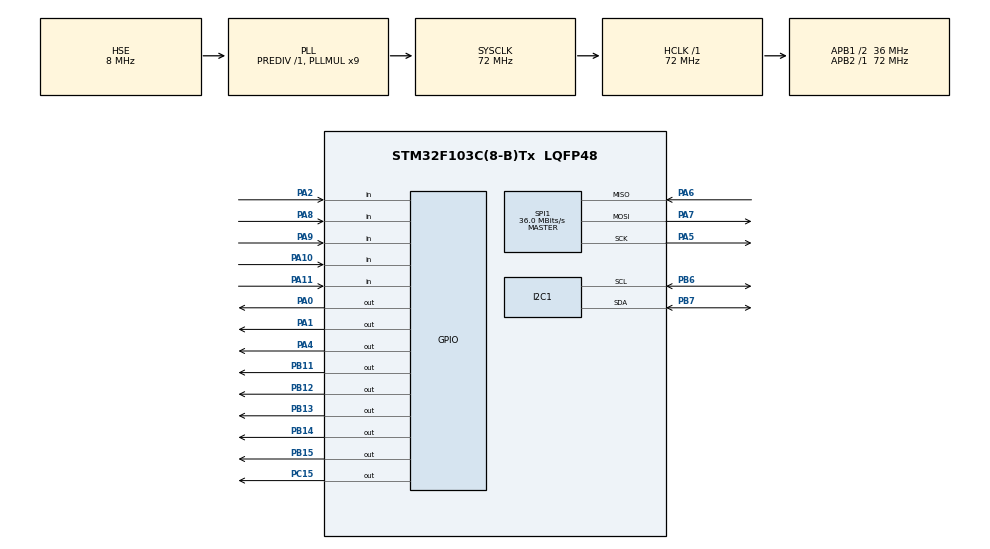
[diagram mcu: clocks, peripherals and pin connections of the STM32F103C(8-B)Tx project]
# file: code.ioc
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Mcu.Family=STM32F1
Mcu.Name=STM32F103C(8-B)Tx
Mcu.Package=LQFP48
NVIC.PriorityGroup=NVIC_PRIORITYGROUP_4
PA0-WKUP.Signal=GPIO_Output
PA1.Signal=GPIO_Output
PA10.GPIO_PuPd=GPIO_PULLUP
PA10.Signal=GPIO_Input
PA11.GPIO_PuPd=GPIO_PULLUP
PA11.Signal=GPIO_Input
PA13.Mode=Serial_Wire
PA13.Signal=SYS_JTMS-SWDIO
PA14.Mode=Serial_Wire
PA14.Signal=SYS_JTCK-SWCLK
PA2.Signal=GPIO_Input
PA4.Signal=GPIO_Output
PA5.Mode=Full_Duplex_Master
PA5.Signal=SPI1_SCK
PA6.Mode=Full_Duplex_Master
PA6.Signal=SPI1_MISO
PA7.Mode=Full_Duplex_Master
PA7.Signal=SPI1_MOSI
PA8.GPIO_PuPd=GPIO_PULLUP
PA8.Signal=GPIO_Input
PA9.GPIO_PuPd=GPIO_PULLUP
PA9.Signal=GPIO_Input
PB11.Signal=GPIO_Output
PB12.Signal=GPIO_Output
PB13.Signal=GPIO_Output
PB14.Signal=GPIO_Output
PB15.Signal=GPIO_Output
PB6.Mode=I2C
PB6.Signal=I2C1_SCL
PB7.Mode=I2C
PB7.Signal=I2C1_SDA
PC15-OSC32_OUT.Signal=GPIO_Output
PD0-OSC_IN.Mode=HSE-External-Oscillator
PD0-OSC_IN.Signal=RCC_OSC_IN
PD1-OSC_OUT.Mode=HSE-External-Oscillator
PD1-OSC_OUT.Signal=RCC_OSC_OUT
ProjectManager.HeapSize=0x200
ProjectManager.StackSize=0x400
ProjectManager.TargetToolchain=MDK-ARM V5
RCC.AHBFreq_Value=72000000
RCC.APB1CLKDivider=RCC_HCLK_DIV2
RCC.APB1Freq_Value=36000000
RCC.APB1TimFreq_Value=72000000
RCC.APB2Freq_Value=72000000
RCC.APB2TimFreq_Value=72000000
RCC.HCLKFreq_Value=72000000
RCC.PLLMUL=RCC_PLL_MUL9
RCC.PLLSourceVirtual=RCC_PLLSOURCE_HSE
RCC.SYSCLKFreq_VALUE=72000000
RCC.SYSCLKSource=RCC_SYSCLKSOURCE_PLLCLK
RCC.USBFreq_Value=72000000
SPI1.BaudRatePrescaler=SPI_BAUDRATEPRESCALER_2
SPI1.CalculateBaudRate=36.0 MBits/s
SPI1.Direction=SPI_DIRECTION_2LINES
SPI1.Mode=SPI_MODE_MASTER
SPI1.VirtualType=VM_MASTER
TIM2.Period=2499
TIM2.Prescaler=64
VP_TIM2_VS_ClockSourceINT.Mode=Internal
board=custom

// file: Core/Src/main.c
/* USER CODE BEGIN Header */
/**
  ******************************************************************************
  * @file           : main.c
  * @brief          : Main program body
  ******************************************************************************
  * @attention
  *
  * Copyright (c) 2023 STMicroelectronics.
  * All rights reserved.
  *
  * This software is licensed under terms that can be found in the LICENSE file
  * in the root directory of this software component.
  * If no LICENSE file comes with this software, it is provided AS-IS.
  *
  ******************************************************************************
  */
/* USER CODE END Header */
#include "main.h"
#include "flash.h"
#include "i2c-lcd.h"
#include "stm32f1_rc522.h"
#include "string.h"
#include "stdio.h"
#include "stdlib.h"
#define DS3231_ADDRESS 0xD0
/* USER CODE BEGIN Includes */
//Khai bao chan cua keypad
#define C1_PORT GPIOA
#define C1_PIN GPIO_PIN_8

#define C2_PORT GPIOA
#define C2_PIN GPIO_PIN_9

#define C3_PORT GPIOA
#define C3_PIN GPIO_PIN_10

#define C4_PORT GPIOA
#define C4_PIN GPIO_PIN_11

#define R1_PORT GPIOB
#define R1_PIN GPIO_PIN_12

#define R2_PORT GPIOB
#define R2_PIN GPIO_PIN_13

#define R3_PORT GPIOB
#define R3_PIN GPIO_PIN_14

#define R4_PORT GPIOB
#define R4_PIN GPIO_PIN_15
/* USER CODE END Includes */
#define maxdigit 10
uint8_t key_val,mathe[30];
static unsigned char index=0;
char dem=0,dem2=0,sophantu=0,m=0,moi=0,dem1=0,demmk=0;
char mp[10],mp1[10],mpxn[10],password[11]="",data[20],chedoxoathe=0,chedoxoatatca=0,mocua1=0;
char saithe=0,chedodoimk=0,chedodoixn=0,chedochonmemu=0,menu=0, smk=0,chedothemthe=0;
uint8_t  serNum[5],mastercard[5],str[MAX_LEN],themthe[5],status,kiemtrathe=0,ktmaster=0,demapp=0,mode=0;
char demmas=0,demchua=0,demco=0;
int coi=0;
#define ADDRESS_DATA_STORAGE  (0x08000000+ 120*1024)// mat khau
#define ADDRESS_DATA_STORAGE1  (0x08000000+ 121*1024)// master
#define ADDRESS_DATA_STORAGE2  (0x08000000+ 122*1024)// them the

I2C_HandleTypeDef hi2c1;

SPI_HandleTypeDef hspi1;
TIM_HandleTypeDef htim2;

void SystemClock_Config(void);
static void MX_GPIO_Init(void);
static void MX_I2C1_Init(void);
static void MX_SPI1_Init(void);
static void MX_TIM2_Init(void);
/* USER CODE BEGIN PFP */

//KeyPad
uint8_t key_val;
uint8_t  keypad_get_key_value(void)
{
	 int  key;
	 key =' ';
      HAL_GPIO_WritePin(GPIOB,R1_PIN,GPIO_PIN_RESET);
			HAL_Delay(10);
      if(HAL_GPIO_ReadPin(C1_PORT,C1_PIN)==0) {
				while(HAL_GPIO_ReadPin(C1_PORT,C1_PIN)==0);
				key= '1';
			}
      if(HAL_GPIO_ReadPin(C2_PORT,C2_PIN)==0){
				while(HAL_GPIO_ReadPin(C2_PORT,C2_PIN)==0);
				key= '2';
			}
      if(HAL_GPIO_ReadPin(C3_PORT,C3_PIN)==0){
				while(HAL_GPIO_ReadPin(C3_PORT,C3_PIN)==0);
				key= '3';
			}
      if(HAL_GPIO_ReadPin(C4_PORT,C4_PIN)==0) {
				while(HAL_GPIO_ReadPin(C4_PORT,C4_PIN)==0);
				key= 'A';
			}
      HAL_GPIO_WritePin(GPIOB,R1_PIN,GPIO_PIN_SET);

			HAL_GPIO_WritePin(GPIOB,R2_PIN,GPIO_PIN_RESET);
			HAL_Delay(10);
      if(HAL_GPIO_ReadPin(C1_PORT,C1_PIN)==0) {
				while(HAL_GPIO_ReadPin(C1_PORT,C1_PIN)==0);
				key= '4';
			}
      if(HAL_GPIO_ReadPin(C2_PORT,C2_PIN)==0){
				while(HAL_GPIO_ReadPin(C2_PORT,C2_PIN)==0);
				 key= '5';
			 }
      if(HAL_GPIO_ReadPin(C3_PORT,C3_PIN)==0) {
				while(HAL_GPIO_ReadPin(C3_PORT,C3_PIN)==0);
				 key= '6';
			 }
      if(HAL_GPIO_ReadPin(C4_PORT,C4_PIN)==0) {
				while(HAL_GPIO_ReadPin(C4_PORT,C4_PIN)==0);
				 key= 'B';
			}
      HAL_GPIO_WritePin(GPIOB,R2_PIN,GPIO_PIN_SET);

 			HAL_GPIO_WritePin(GPIOB,R3_PIN,GPIO_PIN_RESET);
			HAL_Delay(10);
      if(HAL_GPIO_ReadPin(C1_PORT,C1_PIN)==0) {
				while(HAL_GPIO_ReadPin(C1_PORT,C1_PIN)==0);
				key= '7';
			}
      if(HAL_GPIO_ReadPin(C2_PORT,C2_PIN)==0) {
				while(HAL_GPIO_ReadPin(C2_PORT,C2_PIN)==0);
				 key='8';
			}
      if(HAL_GPIO_ReadPin(C3_PORT,C3_PIN)==0) {
				while(HAL_GPIO_ReadPin(C3_PORT,C3_PIN)==0);
				 key='9';
			}
      if(HAL_GPIO_ReadPin(C4_PORT,C4_PIN)==0) {
				while(HAL_GPIO_ReadPin(C4_PORT,C4_PIN)==0);
				 key='C';
			}
      HAL_GPIO_WritePin(GPIOB,R3_PIN,GPIO_PIN_SET);

 			HAL_GPIO_WritePin(GPIOB,R4_PIN,GPIO_PIN_RESET);
			HAL_Delay(10);
      if(HAL_GPIO_ReadPin(C1_PORT,C1_PIN)==0) {
				while(HAL_GPIO_ReadPin(C1_PORT,C1_PIN)==0);
				key='*';
			}
      if(HAL_GPIO_ReadPin(C2_PORT,C2_PIN)==0){
				while(HAL_GPIO_ReadPin(C2_PORT,C2_PIN)==0);
				 key= '0';
			}
      if(HAL_GPIO_ReadPin(C3_PORT,C3_PIN)==0) {
				while(HAL_GPIO_ReadPin(C3_PORT,C3_PIN)==0);
				 key='#';
			}
      if(HAL_GPIO_ReadPin(C4_PORT,C4_PIN)==0) {
				while(HAL_GPIO_ReadPin(C4_PORT,C4_PIN)==0);
				 key= 'D';
			}
      HAL_GPIO_WritePin(GPIOB,R4_PIN,GPIO_PIN_SET);

			return  key;

}

//RFID
void sosanhthe(uint8_t keycard[],  uint8_t id_moi[],  uint8_t mastercard[],char sophantu){
   if(sophantu==0){
		 if(id_moi[0] == mastercard[0] && id_moi[1] == mastercard[1] && id_moi[2] == mastercard[2] && id_moi[3] == mastercard[3]&& id_moi[4] == mastercard[4]){
			demmas=1;
		 }
			else{
			demchua=1;}
	 }
	 else{
   while(m < sophantu) {
        moi = m + 5;
      if(id_moi[0] == mastercard[0] && id_moi[1] == mastercard[1] &&id_moi[2] == mastercard[2] && id_moi[3] == mastercard[3]&& id_moi[4] == mastercard[4])  {
        demchua=0; demco=0; demmas=1; break;
			}
     else if(id_moi[0] == keycard[m] && id_moi[1] == keycard[m+1] && id_moi[2] == keycard[m+2] && id_moi[3] == keycard[m+3]&& id_moi[4] == keycard[m+4])  {
        demchua=0; demco=1; demmas=0;  break;
		 }
     else  if(id_moi[0] != keycard[m] || id_moi[1] != keycard[m+1] || id_moi[2] != keycard[m+2] || id_moi[3] != keycard[m+3] || id_moi[4] != keycard[m+4]) {
        demchua=1; demco=0; demmas=0;
		 }
      m = moi;
    }
	}
}
void xoathe(uint8_t a[], char *n, char viTriXoa,char soLuongXoa){
    for(char i = viTriXoa; i < *n - soLuongXoa; ++i)
        a[i] = a[i+soLuongXoa];
     *n -= soLuongXoa;
}
void nhapmk (char arr[]){
   if(index < maxdigit){
        arr[index] = key_val;
		    index++;
		    HAL_Delay(100);
				lcd_put_cur (1,5);
	      lcd_send_string(arr) ;
		  }
}
void xoamk (char arr[]){
   if(index>0){
	    index--;
	    arr[index]= '\0';
	    HAL_Delay(100);
			lcd_put_cur (1,5);
	    lcd_send_string(arr) ;
	  }
}

void xoachuoi (char arr[]){
for(int i=0;i<11;i++){
	strcpy(&arr[i],"");
	index=0;
	}
}
 uint8_t CheckPass(char *Str1, char *Str2){
	int sosanh;
	if(strlen(Str1)==strlen(Str2)){
		sosanh=strcmp(Str1,Str2);
		if(sosanh==0) return 1;
		else return 0;
	}
	else return 0;
}
void mocua(){
		mocua1=1;
		HAL_GPIO_WritePin(GPIOB,GPIO_PIN_11,1);
		HAL_Delay(200);
		HAL_GPIO_WritePin(GPIOB,GPIO_PIN_11,0);
		HAL_GPIO_WritePin(GPIOC,GPIO_PIN_15,1);
	  saithe=0;smk=0;
}
void ktra_nut(){
	if(HAL_GPIO_ReadPin(GPIOA,GPIO_PIN_2)==0){
		while(HAL_GPIO_ReadPin(GPIOA,GPIO_PIN_2)==0);
		if(mocua1==1){
			HAL_GPIO_WritePin(GPIOB,GPIO_PIN_11,1);
			HAL_Delay(200);
			HAL_GPIO_WritePin(GPIOB,GPIO_PIN_11,0);
			HAL_GPIO_WritePin(GPIOC,GPIO_PIN_15,0);
			mocua1=0;
		}
		else{
			mocua();
		}
	}
}
void start(){

	lcd_put_cur (0,0);
	sprintf(data," Moi quet the      ");
	lcd_send_string (data );
	lcd_put_cur (1,0);
	lcd_send_string("                      ");
	xoachuoi(mp);xoachuoi(mp1);xoachuoi(mpxn);
	demchua=0; demco=0; m=0;moi=0,dem2=0,dem=0,demmas=0,mode=0;
	chedodoimk=0;chedodoixn=0;chedothemthe=0;chedoxoatatca=0;chedoxoathe=0,coi=0;
	ktra_nut();

	dem1=Flash_Read_Int(ADDRESS_DATA_STORAGE);
	Flash_Read_Array(ADDRESS_DATA_STORAGE+2,(uint8_t *)password,dem1);
	sophantu=Flash_Read_Int(ADDRESS_DATA_STORAGE2);
	Flash_Read_Array(ADDRESS_DATA_STORAGE2+2,(uint8_t *)mathe,sophantu);
}

	int temp=0;

void Menu(){

	dem=0;
	dem2=0;
	lcd_put_cur (0,0);
	 lcd_send_string("C:Man hinh chinh         ") ;
	 lcd_put_cur (1,0);
	 lcd_send_string("A:Menu                 ") ;
	temp=1;
	while(temp==1){
		ktra_nut();
		key_val=keypad_get_key_value ();
		if(key_val!= 0x20 && key_val=='A'){
			lcd_clear();
			dem++;
			HAL_Delay(100);
		}
		if(key_val!= 0x20 && key_val=='C'){
			temp=0;
			HAL_Delay(500);
			lcd_clear();
		}

		if(dem==1){
			//lcd_clear();
			lcd_put_cur(0,0);
			lcd_send_string("->THEM THE      ");
			lcd_put_cur(1,0);
			lcd_send_string("XOA THE BAT KI      ");
			if (key_val!= 0x20 && key_val=='B'){
				lcd_clear();
				dem2=1;
			}
			while(dem2==1){
				key_val=keypad_get_key_value ();
				//lcd_clear();
				lcd_put_cur(0,0);
				lcd_send_string("THEM THE MOI       ");
				lcd_put_cur(1,0);
				lcd_send_string("MOI NHAP THE....");
				chedothemthe=1;

				if(chedothemthe==1){
						if(key_val=='C'){
							dem2=0;
							chedothemthe=0;
							HAL_Delay(100);
							lcd_clear();
						}
							 sophantu=Flash_Read_Int(ADDRESS_DATA_STORAGE2);
							 m=0;moi=0;
							 if(MFRC522_Request(PICC_REQIDL , str)==MI_OK) {
								if(MFRC522_Anticoll(str)==MI_OK) {
									memcpy(themthe, str, 5);
									sosanhthe(mathe,  themthe,  mastercard, sophantu);
									if(demmas==1&&demchua==0){
									 lcd_clear();
									 lcd_put_cur (0,0);
									 lcd_send_string("The da ton tai    ") ;
									 HAL_Delay(1000);
										dem2=0;
									}
									if(demco==1 && demchua==0){
										lcd_clear();
										lcd_put_cur (0,0);
										lcd_send_string(" The da ton tai    ") ;
										HAL_Delay(1000);
										dem2=0;
									}
									 if (demchua==1) {
										memcpy(&mathe[sophantu],themthe,5);
										lcd_put_cur (0,0);
										lcd_send_string ("Them thanh cong!       ");
										lcd_put_cur (1,0);
										lcd_send_string ("                        ");
										HAL_GPIO_WritePin(GPIOB,GPIO_PIN_11,1);
										HAL_Delay(100);
										HAL_GPIO_WritePin(GPIOB,GPIO_PIN_11,0);
										HAL_Delay(500);
										sophantu=sophantu+5;
										Flash_Erase(ADDRESS_DATA_STORAGE2);
										HAL_Delay(100);
										Flash_Write_Array(ADDRESS_DATA_STORAGE2+2,(uint8_t*)mathe,sophantu);
										HAL_Delay(100);
										Flash_Write_Int(ADDRESS_DATA_STORAGE2,sophantu);
										HAL_Delay(100);
										lcd_clear();
										dem2=0;
										demchua=0;
									}
							}
						}
				}
			}
		}
		else if(dem==2){

			lcd_put_cur(0,0);
			lcd_send_string("THEM THE      ");
			lcd_put_cur(1,0);
			lcd_send_string("->XOA THE BAT KI    ");
			if (key_val!= 0x20 && key_val=='B'){
				lcd_clear();
				dem2=2;
			}
			while(dem2==2){
				key_val=keypad_get_key_value ();
				lcd_put_cur(0,0);
         lcd_send_string("XOA THE BAT KY   ");
         lcd_put_cur(1,0);
         lcd_send_string("MOI NHAP THE....  ");
         chedoxoathe=1;
				if(chedoxoathe==1){
					if(key_val=='C'){
						dem2=0;
						chedoxoathe=0;
						HAL_Delay(100);
						lcd_clear();
					}
		     sophantu=Flash_Read_Int(ADDRESS_DATA_STORAGE2);
           m=0;moi=0;
				   if(sophantu==0) {
						 HAL_Delay(1000);
						 lcd_clear();
						 lcd_put_cur(0,0);
						 lcd_send_string("  KHONG CO THE   ");
						 HAL_Delay(2000);
						 dem2=0;
						}
           if(sophantu>0){
						 if(MFRC522_Request(PICC_REQIDL , str)==MI_OK){
							if(MFRC522_Anticoll(str)==MI_OK) {
								memcpy(themthe, str, 5);
								sosanhthe(mathe,  themthe,  mastercard, sophantu);
								if(demchua==1 ){
									 lcd_clear();
									 lcd_put_cur(0,0);
									 lcd_send_string("The chua co");
									 lcd_put_cur(1,1);
									 lcd_send_string("Xoa that bai");
									 HAL_Delay(1000);
									 dem2=0;
								}
								else if (demco==1){
									xoathe(mathe,&sophantu , m,5);
									lcd_clear();
									lcd_put_cur (1,1);
									lcd_send_string ("Xoa thanh cong");
									HAL_GPIO_WritePin(GPIOB,GPIO_PIN_11,1);
									HAL_Delay(100);
									HAL_GPIO_WritePin(GPIOB,GPIO_PIN_11,0);
									HAL_Delay(1000);
									Flash_Erase(ADDRESS_DATA_STORAGE2);
									HAL_Delay(100);
									Flash_Write_Array(ADDRESS_DATA_STORAGE2+2,(uint8_t*)mathe,sophantu);
									HAL_Delay(100);
									Flash_Write_Int(ADDRESS_DATA_STORAGE2,sophantu);
									HAL_Delay(100);
									dem2=0;
								}
							}
					 }
					}
				}
			}
		}
//THAY DOI MAT KHAU
		else if(dem==3){
			lcd_put_cur(0,0);
			lcd_send_string("->DOI MAT KHAU      ");
			lcd_put_cur(1,0);
			lcd_send_string("                      ");
			if (key_val!= 0x20 && key_val=='B'){
				lcd_clear();
				dem2=3;
			}
			while(dem2==3){
				key_val=keypad_get_key_value ();
				chedodoimk=1;
				if(chedodoimk==1){
				 	if(key_val=='C'){
						dem2=0;
						chedodoimk=0;
						xoachuoi(mpxn);
						HAL_Delay(100);
						lcd_clear();
					}

						//lcd_clear();
						lcd_put_cur(0,0);
						lcd_send_string("Nhap key moi      ");
						lcd_put_cur(1,1);
						lcd_send_string("Key:");
						if (key_val >= '0' && key_val<= '9' && chedodoimk==1 ){
								nhapmk(mpxn);}
					 else if (key_val=='*' && chedodoimk==1) {
						xoachuoi(mpxn);
						lcd_clear(); }
					 else if (key_val=='D' && chedodoimk==1 ){
						Flash_Erase(ADDRESS_DATA_STORAGE);
						lcd_put_cur(0,0);
						lcd_send_string("   Thanh cong         ");
						lcd_put_cur(1,0);
						lcd_send_string("                         ");
						HAL_GPIO_WritePin(GPIOB,GPIO_PIN_11,1);
						HAL_Delay(100);
						HAL_GPIO_WritePin(GPIOB,GPIO_PIN_11,0);
						demmk=strlen(mpxn);
						Flash_Write_Int(ADDRESS_DATA_STORAGE,demmk);
						Flash_Write_Array(ADDRESS_DATA_STORAGE+2,(uint8_t*)mpxn,demmk);
						HAL_Delay(1000);
						xoachuoi(mpxn);
						xoachuoi(password);
						HAL_Delay(100);
						 dem2=0;
					  }

				 }
			}
		}
		if(dem>3) dem=1;
	}

}

int main(void)
{

  HAL_Init();
  SystemClock_Config();
  MX_GPIO_Init();
  MX_I2C1_Init();
  MX_SPI1_Init();
  MX_TIM2_Init();
	lcd_init();
	MFRC522_Init();
	Flash_Read_Array(ADDRESS_DATA_STORAGE1,(uint8_t*) mastercard,5);

start();

  while (1)
  {
		key_val=keypad_get_key_value ();

		if (key_val!= 0x20 && key_val=='*'){
			mode=1;
		}
		while (mode==1){
			key_val=keypad_get_key_value ();
			if (key_val=='C'){
				mode=0;
			}
			lcd_put_cur (0,0);
			lcd_send_string("Nhap mat khau     ") ;
			lcd_put_cur(1,1);
			lcd_send_string("Key:");

			if (key_val >= '0' && key_val<= '9'){
				nhapmk(mp);
			}
			else if (key_val=='*' ) {
				xoachuoi(mp);
				lcd_clear();
				lcd_put_cur (0,0);
				lcd_send_string("Nhap mat khau     ") ;
				lcd_put_cur(1,1);
				lcd_send_string("Key:");
			}
			else if  (key_val=='D' ) {
				if(CheckPass(mp,password)==1)	{
					lcd_clear();
					lcd_put_cur(0,0);
					lcd_send_string(" Mat khau dung");
					lcd_put_cur(1,1);
					lcd_send_string("                ");
					xoachuoi(mp);
					mocua();

					HAL_Delay(2000);
					Menu();
					start();
				}
				else{
					lcd_clear();
					lcd_put_cur (0,1);
					lcd_send_string("mat khau sai") ;
					lcd_put_cur(1,0);
					lcd_send_string("                ");
					xoachuoi(mp);
					smk++;
					HAL_Delay(1500);
					lcd_clear();
					lcd_put_cur(0,0);
					lcd_send_string("Nhap mat khau") ;
					lcd_put_cur (1,1);
					sprintf(data,"Key:") ;
					lcd_send_string(data);
				}
		 }
				if (smk==3){

					lcd_put_cur (0,0);
					lcd_send_string("Sai qua 3 lan"    );
					lcd_put_cur(1,0);
					lcd_send_string("                ");
					int time =10;

					while(coi<4){
						HAL_GPIO_WritePin(GPIOB,GPIO_PIN_11,1);
						 HAL_Delay(100);
						HAL_GPIO_WritePin(GPIOB,GPIO_PIN_11,0);
						 HAL_Delay(100);
						 coi++;
					}
					while(time>=0){
						lcd_put_cur (1,0);
						sprintf(data,"Doi: %d giay       ",time) ;
						lcd_send_string(data);
						HAL_Delay(1000);
						time--;
					}
					 start();
				}
			}

			start();
			if(MFRC522_Request(PICC_REQIDL , str)==MI_OK){
				if(MFRC522_Anticoll(str)==MI_OK){
					HAL_Delay(500);
					 memcpy(serNum, str, 5);
					 sosanhthe(mathe,serNum,mastercard,sophantu);
				}
				if(demmas==1){
					 HAL_Delay(100);
					 lcd_clear();
					 lcd_put_cur (0,0);
					 lcd_send_string("The Master");

						HAL_GPIO_WritePin(GPIOB,GPIO_PIN_11,1);
						HAL_Delay(200);
						HAL_GPIO_WritePin(GPIOB,GPIO_PIN_11,0);
						HAL_GPIO_WritePin(GPIOC,GPIO_PIN_15,1);
						saithe=0;smk=0;
						mocua();
					 HAL_Delay(2000);
					 lcd_clear();
						Menu();
						start();
				}
				if(demco==1){
					 HAL_Delay(100);
					 lcd_clear();
					 lcd_put_cur (0,0);
					 lcd_send_string("  The Dung!         ");
						lcd_put_cur (1,0);
					 lcd_send_string("                       ");
					 mocua();
					while(mocua1==1){
						lcd_put_cur (0,0);
					 lcd_send_string("  The Dung!         ");
						lcd_put_cur (1,0);
					 lcd_send_string("Cua Da Mo         ");
						ktra_nut();
					}
					lcd_clear();
					start();
				}
				if(demchua==1){
					mocua1=10;
				 lcd_clear();
				 lcd_put_cur (0,0);
				 lcd_send_string("  The sai  ") ;
				 lcd_put_cur (1,1);
				 lcd_send_string("Quet lai the  ") ;
				 saithe=saithe+1;
				 HAL_Delay(1000);
				 if(saithe>3 ){
					 int time=10;
					 lcd_clear();
					 lcd_put_cur (0,1);
					 lcd_send_string("Sai qua 3 lan    "  ) ;
					 while(coi<4){
						HAL_GPIO_WritePin(GPIOB,GPIO_PIN_11,1);
						 HAL_Delay(100);
						HAL_GPIO_WritePin(GPIOB,GPIO_PIN_11,0);
						 HAL_Delay(100);
						 coi++;
						}
					 while(time>=0){
						lcd_put_cur(1,1);
						sprintf(data,"Doi: %d giay    ",time);
						lcd_send_string(data) ;
						HAL_Delay(1000);
						time--;
					 }
				saithe=0;
				}
				 start();
			 }
			}

  }
  /* USER CODE END 3 */
}

void SystemClock_Config(void)
{
  RCC_OscInitTypeDef RCC_OscInitStruct = {0};
  RCC_ClkInitTypeDef RCC_ClkInitStruct = {0};

  /** Initializes the RCC Oscillators according to the specified parameters
  * in the RCC_OscInitTypeDef structure.
  */
  RCC_OscInitStruct.OscillatorType = RCC_OSCILLATORTYPE_HSE;
  RCC_OscInitStruct.HSEState = RCC_HSE_ON;
  RCC_OscInitStruct.HSEPredivValue = RCC_HSE_PREDIV_DIV1;
  RCC_OscInitStruct.HSIState = RCC_HSI_ON;
  RCC_OscInitStruct.PLL.PLLState = RCC_PLL_ON;
  RCC_OscInitStruct.PLL.PLLSource = RCC_PLLSOURCE_HSE;
  RCC_OscInitStruct.PLL.PLLMUL = RCC_PLL_MUL9;
  if (HAL_RCC_OscConfig(&RCC_OscInitStruct) != HAL_OK)
  {
    Error_Handler();
  }

  /** Initializes the CPU, AHB and APB buses clocks
  */
  RCC_ClkInitStruct.ClockType = RCC_CLOCKTYPE_HCLK|RCC_CLOCKTYPE_SYSCLK
                              |RCC_CLOCKTYPE_PCLK1|RCC_CLOCKTYPE_PCLK2;
  RCC_ClkInitStruct.SYSCLKSource = RCC_SYSCLKSOURCE_PLLCLK;
  RCC_ClkInitStruct.AHBCLKDivider = RCC_SYSCLK_DIV1;
  RCC_ClkInitStruct.APB1CLKDivider = RCC_HCLK_DIV2;
  RCC_ClkInitStruct.APB2CLKDivider = RCC_HCLK_DIV1;

  if (HAL_RCC_ClockConfig(&RCC_ClkInitStruct, FLASH_LATENCY_2) != HAL_OK)
  {
    Error_Handler();
  }
}

static void MX_I2C1_Init(void)
{

  hi2c1.Instance = I2C1;
  hi2c1.Init.ClockSpeed = 100000;
  hi2c1.Init.DutyCycle = I2C_DUTYCYCLE_2;
  hi2c1.Init.OwnAddress1 = 0;
  hi2c1.Init.AddressingMode = I2C_ADDRESSINGMODE_7BIT;
  hi2c1.Init.DualAddressMode = I2C_DUALADDRESS_DISABLE;
  hi2c1.Init.OwnAddress2 = 0;
  hi2c1.Init.GeneralCallMode = I2C_GENERALCALL_DISABLE;
  hi2c1.Init.NoStretchMode = I2C_NOSTRETCH_DISABLE;
  if (HAL_I2C_Init(&hi2c1) != HAL_OK)
  {
    Error_Handler();
  }

}

static void MX_SPI1_Init(void)
{

  /* SPI1 parameter configuration*/
  hspi1.Instance = SPI1;
  hspi1.Init.Mode = SPI_MODE_MASTER;
  hspi1.Init.Direction = SPI_DIRECTION_2LINES;
  hspi1.Init.DataSize = SPI_DATASIZE_8BIT;
  hspi1.Init.CLKPolarity = SPI_POLARITY_LOW;
  hspi1.Init.CLKPhase = SPI_PHASE_1EDGE;
  hspi1.Init.NSS = SPI_NSS_SOFT;
  hspi1.Init.BaudRatePrescaler = SPI_BAUDRATEPRESCALER_16;
  hspi1.Init.FirstBit = SPI_FIRSTBIT_MSB;
  hspi1.Init.TIMode = SPI_TIMODE_DISABLE;
  hspi1.Init.CRCCalculation = SPI_CRCCALCULATION_DISABLE;
  hspi1.Init.CRCPolynomial = 10;
  if (HAL_SPI_Init(&hspi1) != HAL_OK)
  {
    Error_Handler();
  }

}

static void MX_TIM2_Init(void)
{

  TIM_ClockConfigTypeDef sClockSourceConfig = {0};
  TIM_MasterConfigTypeDef sMasterConfig = {0};

  htim2.Instance = TIM2;
  htim2.Init.Prescaler = 64;
  htim2.Init.CounterMode = TIM_COUNTERMODE_UP;
  htim2.Init.Period = 2499;
  htim2.Init.ClockDivision = TIM_CLOCKDIVISION_DIV1;
  htim2.Init.AutoReloadPreload = TIM_AUTORELOAD_PRELOAD_DISABLE;
  if (HAL_TIM_Base_Init(&htim2) != HAL_OK)
  {
    Error_Handler();
  }
  sClockSourceConfig.ClockSource = TIM_CLOCKSOURCE_INTERNAL;
  if (HAL_TIM_ConfigClockSource(&htim2, &sClockSourceConfig) != HAL_OK)
  {
    Error_Handler();
  }
  sMasterConfig.MasterOutputTrigger = TIM_TRGO_RESET;
  sMasterConfig.MasterSlaveMode = TIM_MASTERSLAVEMODE_DISABLE;
  if (HAL_TIMEx_MasterConfigSynchronization(&htim2, &sMasterConfig) != HAL_OK)
  {
    Error_Handler();
  }

}

static void MX_GPIO_Init(void)
{
  GPIO_InitTypeDef GPIO_InitStruct = {0};

  /* GPIO Ports Clock Enable */
  __HAL_RCC_GPIOC_CLK_ENABLE();
  __HAL_RCC_GPIOD_CLK_ENABLE();
  __HAL_RCC_GPIOA_CLK_ENABLE();
  __HAL_RCC_GPIOB_CLK_ENABLE();

  /*Configure GPIO pin Output Level */
  HAL_GPIO_WritePin(GPIOC, GPIO_PIN_15, GPIO_PIN_RESET);

  /*Configure GPIO pin Output Level */
  HAL_GPIO_WritePin(GPIOA, GPIO_PIN_0|GPIO_PIN_1|GPIO_PIN_4, GPIO_PIN_RESET);

  /*Configure GPIO pin Output Level */
  HAL_GPIO_WritePin(GPIOB, GPIO_PIN_11|GPIO_PIN_12|GPIO_PIN_13|GPIO_PIN_14
                          |GPIO_PIN_15, GPIO_PIN_RESET);

  /*Configure GPIO pin : PC15 */
  GPIO_InitStruct.Pin = GPIO_PIN_15;
  GPIO_InitStruct.Mode = GPIO_MODE_OUTPUT_PP;
  GPIO_InitStruct.Pull = GPIO_NOPULL;
  GPIO_InitStruct.Speed = GPIO_SPEED_FREQ_LOW;
  HAL_GPIO_Init(GPIOC, &GPIO_InitStruct);

  /*Configure GPIO pins : PA0 PA1 PA4 */
  GPIO_InitStruct.Pin = GPIO_PIN_0|GPIO_PIN_1|GPIO_PIN_4;
  GPIO_InitStruct.Mode = GPIO_MODE_OUTPUT_PP;
  GPIO_InitStruct.Pull = GPIO_NOPULL;
  GPIO_InitStruct.Speed = GPIO_SPEED_FREQ_LOW;
  HAL_GPIO_Init(GPIOA, &GPIO_InitStruct);

  /*Configure GPIO pin : PA2 */
  GPIO_InitStruct.Pin = GPIO_PIN_2;
  GPIO_InitStruct.Mode = GPIO_MODE_INPUT;
  GPIO_InitStruct.Pull = GPIO_NOPULL;
  HAL_GPIO_Init(GPIOA, &GPIO_InitStruct);

  /*Configure GPIO pins : PB11 PB12 PB13 PB14
                           PB15 */
  GPIO_InitStruct.Pin = GPIO_PIN_11|GPIO_PIN_12|GPIO_PIN_13|GPIO_PIN_14
                          |GPIO_PIN_15;
  GPIO_InitStruct.Mode = GPIO_MODE_OUTPUT_PP;
  GPIO_InitStruct.Pull = GPIO_NOPULL;
  GPIO_InitStruct.Speed = GPIO_SPEED_FREQ_LOW;
  HAL_GPIO_Init(GPIOB, &GPIO_InitStruct);

  /*Configure GPIO pins : PA8 PA9 PA10 PA11 */
  GPIO_InitStruct.Pin = GPIO_PIN_8|GPIO_PIN_9|GPIO_PIN_10|GPIO_PIN_11;
  GPIO_InitStruct.Mode = GPIO_MODE_INPUT;
  GPIO_InitStruct.Pull = GPIO_PULLUP;
  HAL_GPIO_Init(GPIOA, &GPIO_InitStruct);

}

void Error_Handler(void)
{
  __disable_irq();
  while (1)
  {
  }
}
